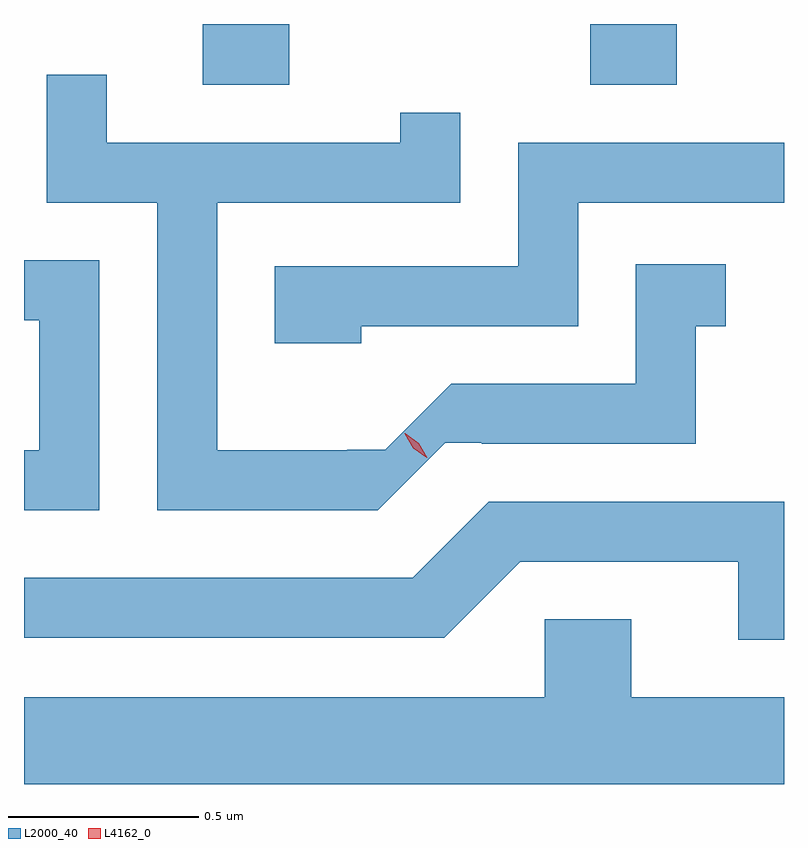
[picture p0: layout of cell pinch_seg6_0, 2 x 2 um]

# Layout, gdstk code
import gdstk
lib = gdstk.Library(unit=1e-6, precision=1e-09)
def R(c, l, rs):  # rectangles x0, y0, x1, y1
    for r in rs: c.add(gdstk.rectangle(r[:2], r[2:], *l))
def P(c, l, *ps):  # polygons
    for p in ps: c.add(gdstk.Polygon(p, *l))
L2000_40 = (2000, 40)
L4162_0 = (4162, 0)

pinch_seg6_0 = lib.new_cell('pinch_seg6_0')
R(pinch_seg6_0, L2000_40, [(834.021,1647.376,834.249,1647.536), (835.041,1647.376,835.269,1647.536)])
P(pinch_seg6_0, L2000_40, [(834.66,1646.434),(834.755,1646.434),(834.755,1646.431),(835.319,1646.431),(835.319,1646.741),(835.398,1646.741),(835.398,1646.904),(835.161,1646.904),(835.161,1646.589),(834.675,1646.589),(834.502,1646.416),(834.401,1646.416),(834.401,1646.414),(834.059,1646.414),(834.059,1647.066),(834.699,1647.066),(834.699,1647.303),(834.541,1647.303),(834.541,1647.224),(833.769,1647.224),(833.769,1647.403),(833.611,1647.403),(833.611,1647.066),(833.901,1647.066),(833.901,1646.256),(834.482,1646.256)],
  [(834.439,1646.741),(835.009,1646.741),(835.009,1647.066),(835.551,1647.066),(835.551,1647.224),(834.851,1647.224),(834.851,1646.899),(834.211,1646.899),(834.211,1646.696),(834.439,1646.696)],
  [(833.749,1646.914),(833.551,1646.914),(833.551,1646.756),(833.591,1646.756),(833.591,1646.414),(833.551,1646.414),(833.551,1646.256),(833.749,1646.256)],
  [(835.551,1646.279),(834.774,1646.279),(834.574,1646.079),(833.551,1646.079),(833.551,1645.921),(834.657,1645.921),(834.857,1646.121),(835.431,1646.121),(835.431,1645.916),(835.551,1645.916)],
  [(835.551,1645.764),(835.149,1645.764),(835.149,1645.969),(834.921,1645.969),(834.921,1645.764),(833.551,1645.764),(833.551,1645.536),(835.551,1645.536)])
P(pinch_seg6_0, L4162_0, [(834.611,1646.394),(834.575,1646.419),(834.553,1646.458),(834.553,1646.459),(834.554,1646.459),(834.59,1646.433),(834.612,1646.394),(834.612,1646.394)])

lib.write_gds('pinch_seg6_0.gds')
